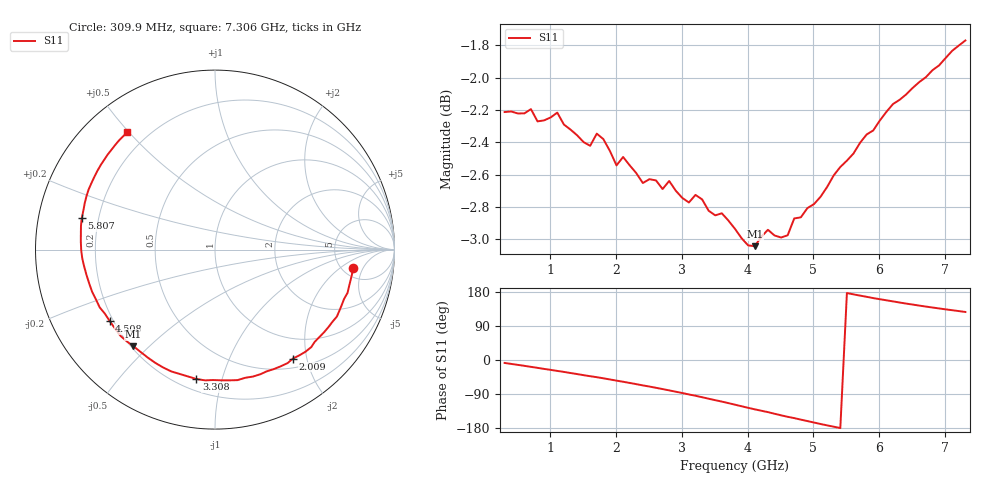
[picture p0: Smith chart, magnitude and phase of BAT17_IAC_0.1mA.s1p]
! Infineon Technologies  Discrete & RF Semiconductors
! BAT17
! IAC = 0.1 mA
! One-Port S-Parameters
# Hz  S  MA  R  50
!f  S11
!Hz  Mag  Ang
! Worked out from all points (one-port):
!   71 points, 309.9 MHz to 7.306 GHz, reference 50 ohm
!   lowest |S11| = -3.0 dB at 4.108 GHz (marker M1), VSWR 5.77, Z = 10.5 - j22.4 ohm
!   |S11| at or under -10 dB: nowhere
!   S11 on the Smith chart (normalised r, x): 309.9 MHz: 6.16, -3.24; 2.009 GHz: 0.64, -1.76; 3.308 GHz: 0.27, -0.83; 4.508 GHz: 0.19, -0.30; 5.807 GHz: 0.14, +0.11; 7.306 GHz: 0.13, +0.49
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3.0985e8  0.7752 -7.8
7.0965e8  0.7768 -18.1
1.10945e9  0.7748 -28.8
1.2094e9  0.7683 -31.4
1.6092e9  0.7567 -42.8
1.70915e9  0.7633 -45.3
2.009e9  0.7463 -54.5
2.10895e9  0.7507 -57.4
2.6087e9  0.7383 -73.4
2.8086e9  0.738 -80.1
3.0085e9  0.7291 -87.2
3.2084e9  0.7307 -94.3
3.30835e9  0.7284 -98.2
3.6082e9  0.7212 -109.7
3.8081e9  0.7133 -117.9
4.10795e9  0.7045 -130.2
4.30785e9  0.7128 -137.5
4.50775e9  0.7089 -145.9
4.70765e9  0.7186 -153.3
4.90755e9  0.7239 -161.1
5.2074e9  0.7349 -172.5
5.4073e9  0.7454 -179.7
5.6072e9  0.7526 173.2
5.8071e9  0.7629 166.8
6.2069e9  0.7796 154.7
6.50675e9  0.7886 146.2
6.90655e9  0.8014 136.0
7.30635e9  0.8157 126.8
